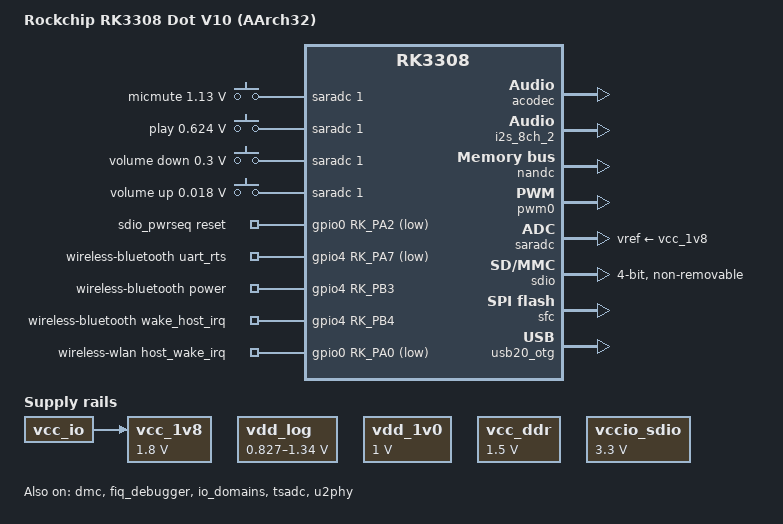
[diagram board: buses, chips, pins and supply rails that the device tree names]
// SPDX-License-Identifier: (GPL-2.0+ OR MIT)
/*
 * Copyright (c) 2018 Fuzhou Rockchip Electronics Co., Ltd
 */

/dts-v1/;

#include <dt-bindings/input/input.h>
#include "arm64/rockchip/rk3308.dtsi"

/ {
	model = "Rockchip RK3308 Dot V10 (AArch32)";
	compatible = "rockchip,rk3308-dot-v10-aarch32", "rockchip,rk3308";

	chosen {
		bootargs = "earlycon=uart8250,mmio32,0xff0c0000 swiotlb=1 console=ttyFIQ0 root=PARTUUID=614e0000-0000 rootfstype=squashfs rootwait";
	};

	acodec_sound: acodec-sound {
		compatible = "rockchip,multicodecs-card";
		rockchip,card-name = "rockchip,rk3308-acodec";
		rockchip,codec-hp-det;
		rockchip,mclk-fs = <256>;
		rockchip,cpu = <&i2s_8ch_2>;
		rockchip,codec = <&acodec>;
		status = "okay";
	};

	adc-keys {
		compatible = "adc-keys";
		io-channels = <&saradc 1>;
		io-channel-names = "buttons";
		poll-interval = <100>;
		keyup-threshold-microvolt = <1800000>;

		esc-key {
			linux,code = <KEY_MICMUTE>;
			label = "micmute";
			press-threshold-microvolt = <1130000>;
		};

		menu-key {
			linux,code = <KEY_PLAY>;
			label = "play";
			press-threshold-microvolt = <624000>;
		};

		vol-down-key {
			linux,code = <KEY_VOLUMEDOWN>;
			label = "volume down";
			press-threshold-microvolt = <300000>;
		};

		vol-up-key {
			linux,code = <KEY_VOLUMEUP>;
			label = "volume up";
			press-threshold-microvolt = <18000>;
		};
	};

	dummy_codec: dummy-codec {
		compatible = "rockchip,dummy-codec";
		#sound-dai-cells = <0>;
	};

	sdio_pwrseq: sdio-pwrseq {
		compatible = "mmc-pwrseq-simple";
		pinctrl-names = "default";
		pinctrl-0 = <&wifi_enable_h>;

		/*
		 * On the module itself this is one of these (depending
		 * on the actual card populated):
		 * - SDIO_RESET_L_WL_REG_ON
		 * - PDN (power down when low)
		 */
		reset-gpios = <&gpio0 RK_PA2 GPIO_ACTIVE_LOW>;
	};

	spdif_tx_sound: spdif-tx-sound {
		status = "disabled";
		compatible = "simple-audio-card";
		simple-audio-card,name = "rockchip,spdif-tx-sound";
		simple-audio-card,cpu {
			sound-dai = <&spdif_tx>;
		};
		simple-audio-card,codec {
			sound-dai = <&dummy_codec>;
		};
	};

	vad-sound {
		status = "disabled";
		compatible = "rockchip,multicodecs-card";
		rockchip,card-name = "rockchip,rk3308-vad";
		rockchip,codec-hp-det;
		rockchip,cpu = <&i2s_8ch_2>;
		rockchip,codec = <&acodec>, <&vad>;
	};

	vdd_log: vdd_core: vdd-core {
		compatible = "pwm-regulator";
		pwms = <&pwm0 0 5000 1>;
		regulator-name = "vdd_core";
		regulator-min-microvolt = <827000>;
		regulator-max-microvolt = <1340000>;
		regulator-init-microvolt = <1015000>;
		regulator-always-on;
		regulator-boot-on;
		regulator-settling-time-up-us = <250>;
		status = "okay";
	};

	vdd_1v0: vdd-1v0 {
		compatible = "regulator-fixed";
		regulator-name = "vdd_1v0";
		regulator-always-on;
		regulator-boot-on;
		regulator-min-microvolt = <1000000>;
		regulator-max-microvolt = <1000000>;
	};

	vcc_1v8: vcc-1v8 {
		compatible = "regulator-fixed";
		regulator-name = "vcc_1v8";
		regulator-always-on;
		regulator-boot-on;
		regulator-min-microvolt = <1800000>;
		regulator-max-microvolt = <1800000>;
		vin-supply = <&vcc_io>;
	};

	vcc_ddr: vcc-ddr {
		compatible = "regulator-fixed";
		regulator-name = "vcc_ddr";
		regulator-always-on;
		regulator-boot-on;
		regulator-min-microvolt = <1500000>;
		regulator-max-microvolt = <1500000>;
	};

	vccio_sdio: vcc_io: vcc-io {
		compatible = "regulator-fixed";
		regulator-name = "vcc_io";
		regulator-always-on;
		regulator-boot-on;
		regulator-min-microvolt = <3300000>;
		regulator-max-microvolt = <3300000>;
	};

	wireless-bluetooth {
		compatible = "bluetooth-platdata";
		uart_rts_gpios = <&gpio4 RK_PA7 GPIO_ACTIVE_LOW>;
		pinctrl-names = "default", "rts_gpio";
		pinctrl-0 = <&uart4_rts>;
		pinctrl-1 = <&uart4_rts_gpio>;
		BT,power_gpio    = <&gpio4 RK_PB3 GPIO_ACTIVE_HIGH>;
		BT,wake_host_irq = <&gpio4 RK_PB4 GPIO_ACTIVE_HIGH>;
		status = "okay";
	};

	wireless-wlan {
		compatible = "wlan-platdata";
		rockchip,grf = <&grf>;
		clocks = <&cru SCLK_WIFI>;
		clock-names = "clk_wifi";
		ext_clk_freq = <24000000>;
		pinctrl-names = "default";
		pinctrl-0 = <&wifi_wake_host>;
		wifi_chip_type = "rtl8723ds";
		WIFI,host_wake_irq = <&gpio0 RK_PA0 GPIO_ACTIVE_LOW>;
		status = "okay";
	};
};

&acodec {
	status = "okay";
	rockchip,no-deep-low-power;
	rockchip,no-hp-det;
	rockchip,loopback-grp = <1>;
	spk-ctl-gpios = <&gpio0 RK_PA5 GPIO_ACTIVE_HIGH>;
	/* ADC5-8 for 4ch capture, loopback to ADC3-4 */
	rockchip,adc-grps-route = <2 3 1 0>;
};

&cpu0 {
	cpu-supply = <&vdd_core>;
};

&dmc {
	center-supply = <&vdd_log>;
	status = "okay";
};

&fiq_debugger {
	status = "okay";
};

&i2s_8ch_2 {
	status = "okay";
};

&io_domains {
	status = "okay";

	vccio0-supply = <&vcc_io>;
	vccio1-supply = <&vcc_io>;
	vccio2-supply = <&vcc_1v8>;
	vccio3-supply = <&vcc_io>;
	vccio4-supply = <&vccio_sdio>;
	vccio5-supply = <&vcc_io>;
};

&nandc {
	status = "okay";
};

&pinctrl {
	sdio-pwrseq {
		wifi_enable_h: wifi-enable-h {
			rockchip,pins = <0 RK_PA2 RK_FUNC_GPIO &pcfg_pull_none>;
		};
	};

	wireless-wlan {
		wifi_wake_host: wifi-wake-host {
			rockchip,pins = <0 RK_PA0 RK_FUNC_GPIO &pcfg_pull_up>;
		};
	};
};

&pwm0 {
	status = "okay";
	pinctrl-names = "active";
	pinctrl-0 = <&pwm0_pin_pull_down>;
};

&ramoops_mem {
	reg = <0x0 0x30000 0x0 0x20000>;
};

&ramoops {
	record-size = <0x0 0x00000>;
	console-size = <0x0 0x20000>;
};

&rockchip_suspend {
	rockchip,pwm-regulator-config = <
		(0
		| RKPM_PWM_REGULATOR
		)
	>;

	status = "okay";
};

&saradc {
	status = "okay";
	vref-supply = <&vcc_1v8>;
};

&sdio {
	max-frequency = <110000000>;
	bus-width = <4>;
	cap-sd-highspeed;
	supports-sdio;
	ignore-pm-notify;
	keep-power-in-suspend;
	non-removable;
	mmc-pwrseq = <&sdio_pwrseq>;
	sd-uhs-sdr104;
	status = "okay";
};

&sfc {
	status = "okay";
};

&tsadc {
	rockchip,hw-tshut-mode = <0>; /* tshut mode 0:CRU 1:GPIO */
	rockchip,hw-tshut-polarity = <1>; /* tshut polarity 0:LOW 1:HIGH */
	status = "okay";
};

&u2phy {
	status = "okay";
	u2phy_otg: otg-port {
		status = "okay";
	};
};

&usb20_otg {
	status = "okay";
};

&vad {
	status = "disabled";
	rockchip,audio-src = <&i2s_8ch_2>;
	rockchip,det-channel = <0>;
	rockchip,mode = <1>;
	rockchip,buffer-time-ms = <500>;
	#sound-dai-cells = <0>;
};
